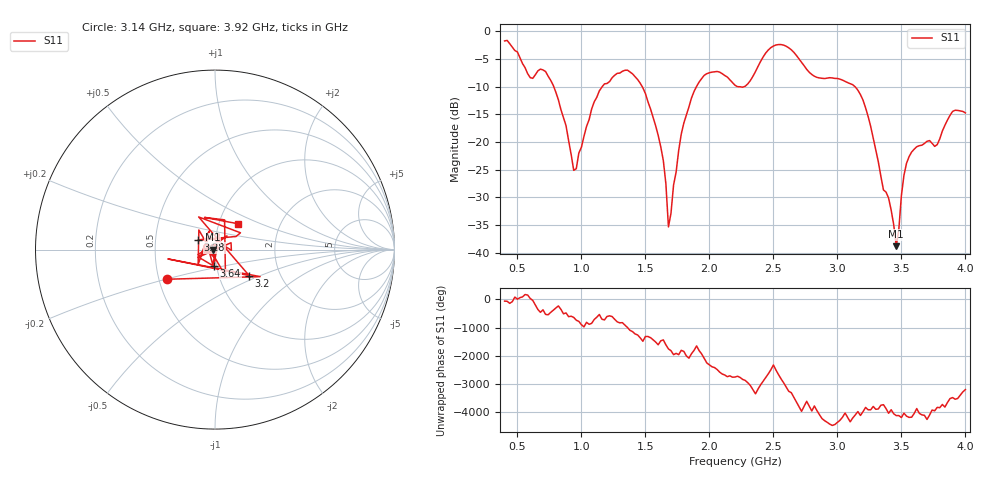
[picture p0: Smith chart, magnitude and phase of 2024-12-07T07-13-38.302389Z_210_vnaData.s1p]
!Created with skrf (http://scikit-rf.org).
# Hz S RI R 50.0
!freq ReS11 ImS11
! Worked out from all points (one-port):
!   181 points, 400 MHz to 4 GHz, reference 50 ohm
!   lowest |S11| = -38.8 dB at 3.46 GHz (marker M1), VSWR 1.02, Z = 48.9 - j0.118 ohm
!   |S11| at or under -10 dB: 783.6 MHz to 1.163 GHz (379.8 MHz wide, 39 % of centre); 1.475 GHz to 1.899 GHz (424.7 MHz wide, 25.2 % of centre); 3.136 GHz to end of sweep (the widest 3 of 4)
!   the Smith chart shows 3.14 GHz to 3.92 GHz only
!   S11 on the Smith chart (normalised r, x): 3.14 GHz: 0.55, -0.20; 3.2 GHz: 1.39, -0.43; 3.28 GHz: 0.82, +0.09; 3.64 GHz: 0.97, -0.18; 3.92 GHz: 1.24, +0.37
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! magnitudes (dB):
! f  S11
! 400 MHz  -1.8
! 600 MHz  -8.4
! 720 MHz  -7.3
! 860 MHz  -15.6
! 960 MHz  -24.8
! 1.1 GHz  -12.8
! 1.3 GHz  -7.6
! 1.44 GHz  -8.8
! 1.54 GHz  -14.0
! 1.64 GHz  -23.4
! 1.68 GHz  -35.3
! 1.76 GHz  -21.6
! 1.86 GHz  -12.1
! 1.96 GHz  -8.0
! 2.2 GHz  -9.8
! 2.5 GHz  -2.7
! 2.66 GHz  -3.8
! 3.1 GHz  -9.5
! 3.14 GHz  -10.1
! 3.2 GHz  -12.4
! 3.28 GHz  -19.3
! 3.46 GHz  -38.8
! 3.52 GHz  -26.0
! 3.56 GHz  -22.6
! 3.64 GHz  -20.7
! 3.78 GHz  -20.5
! 3.92 GHz  -14.3
! 4 GHz  -14.8
